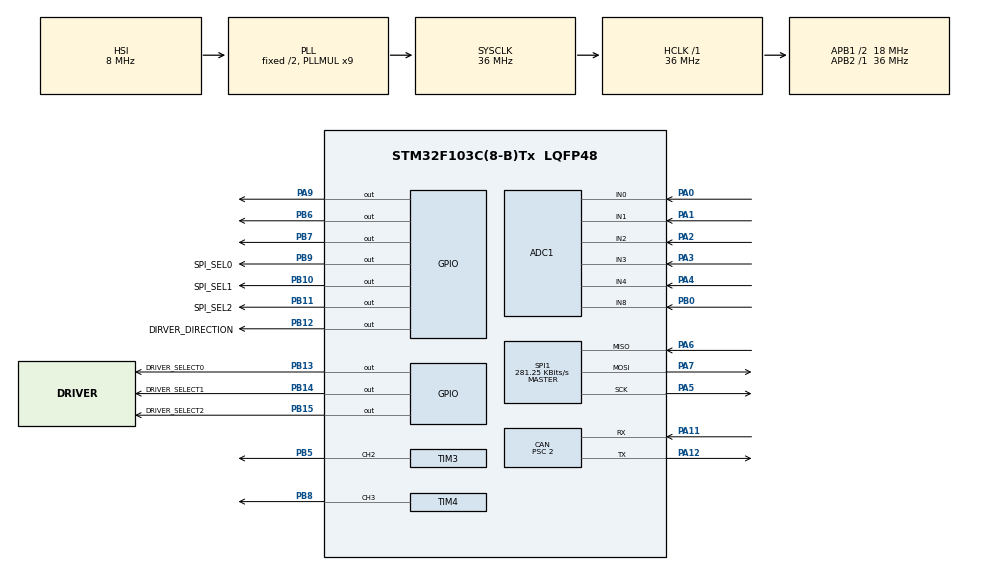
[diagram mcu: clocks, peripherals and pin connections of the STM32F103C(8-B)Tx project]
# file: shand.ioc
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ADC1.Channel-0\#ChannelRegularConversion=ADC_CHANNEL_0
ADC1.Channel-1\#ChannelRegularConversion=ADC_CHANNEL_1
ADC1.Channel-2\#ChannelRegularConversion=ADC_CHANNEL_2
ADC1.Channel-3\#ChannelRegularConversion=ADC_CHANNEL_3
ADC1.Channel-4\#ChannelRegularConversion=ADC_CHANNEL_4
ADC1.Channel-5\#ChannelRegularConversion=ADC_CHANNEL_8
ADC1.ContinuousConvMode=ENABLE
ADC1.NbrOfConversion=6
ADC1.NbrOfConversionFlag=1
ADC1.Rank-0\#ChannelRegularConversion=1
ADC1.Rank-1\#ChannelRegularConversion=2
ADC1.Rank-2\#ChannelRegularConversion=3
ADC1.Rank-3\#ChannelRegularConversion=4
ADC1.Rank-4\#ChannelRegularConversion=5
ADC1.Rank-5\#ChannelRegularConversion=6
ADC1.SamplingTime-0\#ChannelRegularConversion=ADC_SAMPLETIME_239CYCLES_5
ADC1.SamplingTime-1\#ChannelRegularConversion=ADC_SAMPLETIME_239CYCLES_5
ADC1.SamplingTime-2\#ChannelRegularConversion=ADC_SAMPLETIME_239CYCLES_5
ADC1.SamplingTime-3\#ChannelRegularConversion=ADC_SAMPLETIME_239CYCLES_5
ADC1.SamplingTime-4\#ChannelRegularConversion=ADC_SAMPLETIME_239CYCLES_5
ADC1.SamplingTime-5\#ChannelRegularConversion=ADC_SAMPLETIME_239CYCLES_5
ADC1.master=1
CAN.BS1=CAN_BS1_5TQ
CAN.BS2=CAN_BS2_3TQ
CAN.CalculateBaudRate=1000000
CAN.CalculateTimeBit=1000
CAN.CalculateTimeQuantum=111.11111111111111
CAN.Prescaler=2
Dma.ADC1.0.Direction=DMA_PERIPH_TO_MEMORY
Dma.ADC1.0.Instance=DMA1_Channel1
Dma.ADC1.0.MemDataAlignment=DMA_MDATAALIGN_HALFWORD
Dma.ADC1.0.MemInc=DMA_MINC_ENABLE
Dma.ADC1.0.Mode=DMA_CIRCULAR
Dma.ADC1.0.PeriphDataAlignment=DMA_PDATAALIGN_HALFWORD
Dma.ADC1.0.PeriphInc=DMA_PINC_DISABLE
Dma.ADC1.0.Priority=DMA_PRIORITY_LOW
Dma.Request0=ADC1
Mcu.Family=STM32F1
Mcu.Name=STM32F103C(8-B)Tx
Mcu.Package=LQFP48
NVIC.ADC1_2_IRQn=true\:0\:0\:false\:false\:true\:true\:true\:true
NVIC.DMA1_Channel1_IRQn=true\:0\:0\:false\:false\:true\:false\:true\:true
NVIC.PriorityGroup=NVIC_PRIORITYGROUP_4
NVIC.TIM1_UP_IRQn=true\:0\:0\:false\:false\:true\:true\:true\:true
NVIC.TIM2_IRQn=true\:0\:0\:false\:false\:true\:true\:true\:true
NVIC.USB_LP_CAN1_RX0_IRQn=true\:0\:0\:false\:false\:true\:true\:true\:true
PA0-WKUP.Signal=ADCx_IN0
PA1.Signal=ADCx_IN1
PA11.Mode=CAN_Activate
PA11.Signal=CAN_RX
PA12.Mode=CAN_Activate
PA12.Signal=CAN_TX
PA13.Mode=Trace_Asynchronous_SW
PA13.Signal=SYS_JTMS-SWDIO
PA14.Mode=Trace_Asynchronous_SW
PA14.Signal=SYS_JTCK-SWCLK
PA2.Signal=ADCx_IN2
PA3.Signal=ADCx_IN3
PA4.Signal=ADCx_IN4
PA5.Mode=Full_Duplex_Master
PA5.Signal=SPI1_SCK
PA6.Mode=Full_Duplex_Master
PA6.Signal=SPI1_MISO
PA7.Mode=Full_Duplex_Master
PA7.Signal=SPI1_MOSI
PA9.Signal=GPIO_Output
PB0.Signal=ADCx_IN8
PB10.GPIO_Label=SPI_SEL1
PB10.GPIO_Speed=GPIO_SPEED_FREQ_HIGH
PB10.Signal=GPIO_Output
PB11.GPIO_Label=SPI_SEL2
PB11.GPIO_Speed=GPIO_SPEED_FREQ_HIGH
PB11.Signal=GPIO_Output
PB12.GPIO_Label=DIRVER_DIRECTION
PB12.GPIO_Speed=GPIO_SPEED_FREQ_MEDIUM
PB12.Signal=GPIO_Output
PB13.GPIO_Label=DRIVER_SELECT0
PB13.GPIO_Speed=GPIO_SPEED_FREQ_MEDIUM
PB13.Signal=GPIO_Output
PB14.GPIO_Label=DRIVER_SELECT1
PB14.GPIO_Speed=GPIO_SPEED_FREQ_MEDIUM
PB14.Signal=GPIO_Output
PB15.GPIO_Label=DRIVER_SELECT2
PB15.GPIO_Speed=GPIO_SPEED_FREQ_MEDIUM
PB15.Signal=GPIO_Output
PB3.Mode=Trace_Asynchronous_SW
PB3.Signal=SYS_JTDO-TRACESWO
PB5.Signal=S_TIM3_CH2
PB6.GPIO_Speed=GPIO_SPEED_FREQ_HIGH
PB6.Signal=GPIO_Output
PB7.GPIO_Speed=GPIO_SPEED_FREQ_HIGH
PB7.Signal=GPIO_Output
PB8.Signal=S_TIM4_CH3
PB9.GPIO_Label=SPI_SEL0
PB9.GPIO_Speed=GPIO_SPEED_FREQ_HIGH
PB9.Signal=GPIO_Output
PD0-OSC_IN.Mode=HSE-External-Oscillator
PD0-OSC_IN.Signal=RCC_OSC_IN
PD1-OSC_OUT.Mode=HSE-External-Oscillator
PD1-OSC_OUT.Signal=RCC_OSC_OUT
ProjectManager.HeapSize=0x200
ProjectManager.StackSize=0x400
ProjectManager.TargetToolchain=STM32CubeIDE
RCC.ADCPresc=RCC_ADCPCLK2_DIV6
RCC.AHBFreq_Value=36000000
RCC.APB1CLKDivider=RCC_HCLK_DIV2
RCC.APB1Freq_Value=18000000
RCC.APB1TimFreq_Value=36000000
RCC.APB2Freq_Value=36000000
RCC.APB2TimFreq_Value=36000000
RCC.HCLKFreq_Value=36000000
RCC.PLLMUL=RCC_PLL_MUL9
RCC.SYSCLKFreq_VALUE=36000000
RCC.SYSCLKSource=RCC_SYSCLKSOURCE_PLLCLK
RCC.USBFreq_Value=36000000
SH.ADCx_IN0.0=ADC1_IN0,IN0
SH.ADCx_IN1.0=ADC1_IN1,IN1
SH.ADCx_IN2.0=ADC1_IN2,IN2
SH.ADCx_IN3.0=ADC1_IN3,IN3
SH.ADCx_IN4.0=ADC1_IN4,IN4
SH.ADCx_IN8.0=ADC1_IN8,IN8
SH.S_TIM3_CH2.0=TIM3_CH2,PWM Generation2 CH2
SH.S_TIM4_CH3.0=TIM4_CH3,PWM Generation3 CH3
SPI1.BaudRatePrescaler=SPI_BAUDRATEPRESCALER_128
SPI1.CalculateBaudRate=281.25 KBits/s
SPI1.Direction=SPI_DIRECTION_2LINES
SPI1.Mode=SPI_MODE_MASTER
SPI1.VirtualType=VM_MASTER
TIM1.AutoReloadPreload=TIM_AUTORELOAD_PRELOAD_DISABLE
TIM1.Period=1000
TIM1.Prescaler=36
TIM2.Period=1000
TIM2.Prescaler=36
TIM3.Channel-PWM\ Generation2\ CH2=TIM_CHANNEL_2
TIM3.OCFastMode_PWM-PWM\ Generation2\ CH2=TIM_OCFAST_ENABLE
TIM3.Period=2000
TIM3.Prescaler=360
TIM3.Pulse-PWM\ Generation2\ CH2=100
TIM4.Channel-PWM\ Generation3\ CH3=TIM_CHANNEL_3
TIM4.Period=2000
TIM4.Prescaler=36
VP_TIM1_VS_ClockSourceINT.Mode=Internal
VP_TIM2_VS_ClockSourceINT.Mode=Internal
VP_TIM3_VS_ClockSourceINT.Mode=Internal
VP_TIM4_VS_ClockSourceINT.Mode=Internal
board=custom

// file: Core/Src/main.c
/* USER CODE BEGIN Header */
/**
  ******************************************************************************
  * @file           : main.c
  * @brief          : Main program body
  ******************************************************************************
  * @attention
  *
  * Copyright (c) 2025 STMicroelectronics.
  * All rights reserved.
  *
  * This software is licensed under terms that can be found in the LICENSE file
  * in the root directory of this software component.
  * If no LICENSE file comes with this software, it is provided AS-IS.
  *
  ******************************************************************************
  */
/* USER CODE END Header */
#include "main.h"

/* USER CODE BEGIN Includes */
#include "logic.h"
#include "delay.h"
#include <stdbool.h>
#include "bmp280.h"
/* USER CODE END Includes */

/* USER CODE BEGIN PD */
#define FILTER_MEM_COUNT (5)
#if (FILTER_MEM_COUNT % 2) == 0
#error "FILTER_MEM_COUNT must be odd for median filter"
#endif
/* USER CODE END PD */

ADC_HandleTypeDef hadc1;
DMA_HandleTypeDef hdma_adc1;

CAN_HandleTypeDef hcan;

SPI_HandleTypeDef hspi1;

TIM_HandleTypeDef htim1;
TIM_HandleTypeDef htim2;
TIM_HandleTypeDef htim3;
TIM_HandleTypeDef htim4;

/* USER CODE BEGIN PV */
uint16_t ADCResult[5];
int count=0;
int i=0;
int pwm1=1000,pwm2=1000;
/* USER CODE END PV */

void SystemClock_Config(void);
static void MX_GPIO_Init(void);
static void MX_DMA_Init(void);
static void MX_ADC1_Init(void);
static void MX_CAN_Init(void);
static void MX_TIM4_Init(void);
static void MX_SPI1_Init(void);
static void MX_TIM3_Init(void);
static void MX_TIM1_Init(void);
static void MX_TIM2_Init(void);
/* USER CODE BEGIN PFP */
void hw_read_adc(uint16_t*value);
int  hw_can_send(uint32_t id,uint8_t *data);
void hw_set_direction(bool dir);
void hw_set_servo_position(uint8_t  *position);
//value is between 0 to 5
void hw_select_driver_motor(uint8_t value);
//minus means clockwise
void hw_set_motor_speed(uint8_t motor,int32_t speed );

void SelectSensor(int8_t index);
void SpiWrite(uint8_t index,uint8_t *data,int len);
void hw_toggle_test_pin();
void SPIReadWrite(uint8_t index,uint8_t *txBuffer,uint8_t txLen,uint8_t *rxBuffer,uint8_t rxLen);
void hw_set_servo_position(uint8_t  *position);
BMP280_CALLBACK_STRUCT_TYPE bmp_sensor=
{
	SPIReadWrite,
	SpiWrite

};

/* USER CODE END PFP */

/* USER CODE BEGIN 0 */
void SysTick_Initialize(uint32_t ticks)
{
    SysTick->CTRL = 0;  // Stop SysTick
    SysTick->LOAD = ticks - 1;
    SysTick->VAL  = 0;

    NVIC_SetPriority(SysTick_IRQn, 15);

    SysTick->CTRL = SysTick_CTRL_CLKSOURCE_Msk |
                    SysTick_CTRL_TICKINT_Msk   |
                    SysTick_CTRL_ENABLE_Msk;
}

void systick_interrupt_handler()
{
	//every 1.67ms
	run_pid_for_all_fingers();
}

void HAL_TIM_PeriodElapsedCallback(TIM_HandleTypeDef *htim1)
{
	static int step1 = 0;
	static int step2 = 0;
	if(htim1->Instance == TIM1)
	{

		if(step1 == 0)
		{

			GPIOB->ODR |=1<<7;
			TIM1->ARR = pwm1;
			step1 = 1;
		}
		else if(step1 == 1)
		{

			GPIOB->ODR &=~(1<<7);
			TIM1->ARR = 19500-pwm1;
			step1 = 0;
		}

	}
	if(htim1->Instance == TIM2)
	{
		if(step2 == 0)
		{

			GPIOB->ODR |=(1<<6);
			TIM2->ARR = pwm2;
			step2 = 1;
		}
		else if(step2 == 1)
		{

			GPIOB->ODR&=~(1<<6);
			TIM2->ARR = 19500-pwm2;
			step2 = 0;
		}

	}

}
void HAL_ADC_ConvHalfCpltCallback(ADC_HandleTypeDef* hadc)
{
	__NOP();
}
void HAL_ADC_ConvCpltCallback(ADC_HandleTypeDef* hadc)
{
	count++;
//	__NOP();
	//  printf("adc=%d %d %d %d %d %d\n",ADCResult[0],ADCResult[1],ADCResult[2],ADCResult[3],ADCResult[4],ADCResult[5]);

}
void HAL_CAN_RxFifo0MsgPendingCallback(CAN_HandleTypeDef *hcan)
{
	uint8_t               RxData[8];
	CAN_RxHeaderTypeDef   RxHeader;
	HAL_CAN_GetRxMessage(hcan, CAN_RX_FIFO0, &RxHeader, RxData);
	can_data_received(RxHeader.StdId,RxData);

}
/* USER CODE END 0 */

int main(void)
{

  /* MCU Configuration--------------------------------------------------------*/

  /* Reset of all peripherals, Initializes the Flash interface and the Systick. */
  HAL_Init();

  /* Configure the system clock */
  SystemClock_Config();

  /* Initialize all configured peripherals */
  MX_GPIO_Init();
  MX_DMA_Init();
  MX_ADC1_Init();
  MX_CAN_Init();
  MX_TIM4_Init();
  MX_SPI1_Init();
  MX_TIM3_Init();
  MX_TIM1_Init();
  MX_TIM2_Init();
  /* USER CODE BEGIN 2 */
	  printf("start app\n");
     hw_select_driver_motor(7);

  if (HAL_CAN_Start(&hcan) != HAL_OK)
     {
       /* Start Error */
 	  printf("can start error\n");
     }
   else{
 	  printf("can start ok!!!!!\n");
   }

#ifdef RIGHT_HAND
	  printf("right hand\n");
#else
	  printf("left hand\n");
#endif

  HAL_CAN_ActivateNotification(&hcan, CAN_IT_RX_FIFO0_MSG_PENDING);
  HAL_ADC_Start_DMA(&hadc1, (uint32_t*)ADCResult, 6);
  HAL_TIM_PWM_Start(&htim4, TIM_CHANNEL_3);
  HAL_TIM_PWM_Start(&htim4, TIM_CHANNEL_2);
  HAL_TIM_PWM_Start(&htim4, TIM_CHANNEL_1);
  HAL_TIM_PWM_Start(&htim3, TIM_CHANNEL_2);
  /* USER CODE END 2 */

  /* Infinite loop */
  /* USER CODE BEGIN WHILE */
  register_delay(HAL_Delay);
  bmp280_register_callbacks(&bmp_sensor);

  logic_register_adc(hw_read_adc);
  logic_register_can_send(hw_can_send);
  logic_register_set_motor_speed(hw_set_motor_speed);
  logic_register_set_servo_position(hw_set_servo_position);
  logic_register_read_pressure(bmp280_read_pressure);
  logic_register_read_temperature(bmp280_read_temperature);
  logic_register_sensor_init(bmp280_init);
  logic_register_hw_pin(hw_toggle_test_pin);
  logic_init();
  hw_set_motor_speed(7,0);

  HAL_NVIC_SetPriority(TIM1_UP_IRQn, 0, 0);
  HAL_NVIC_EnableIRQ(TIM1_UP_IRQn);
  HAL_NVIC_EnableIRQ(TIM2_IRQn);
  HAL_TIM_Base_Start_IT(&htim1);
  HAL_TIM_Base_Start_IT(&htim2);
  SysTick_Initialize(60000);
  while (1)
  {

	  logic_loop();
//	  hw_toggle_test_pin();
    /* USER CODE END WHILE */

  }
}

void SystemClock_Config(void)
{
  RCC_OscInitTypeDef RCC_OscInitStruct = {0};
  RCC_ClkInitTypeDef RCC_ClkInitStruct = {0};
  RCC_PeriphCLKInitTypeDef PeriphClkInit = {0};

  /** Initializes the RCC Oscillators according to the specified parameters
  * in the RCC_OscInitTypeDef structure.
  */
  RCC_OscInitStruct.OscillatorType = RCC_OSCILLATORTYPE_HSI;
  RCC_OscInitStruct.HSIState = RCC_HSI_ON;
  RCC_OscInitStruct.HSICalibrationValue = RCC_HSICALIBRATION_DEFAULT;
  RCC_OscInitStruct.PLL.PLLState = RCC_PLL_ON;
  RCC_OscInitStruct.PLL.PLLSource = RCC_PLLSOURCE_HSI_DIV2;
  RCC_OscInitStruct.PLL.PLLMUL = RCC_PLL_MUL9;
  if (HAL_RCC_OscConfig(&RCC_OscInitStruct) != HAL_OK)
  {
    Error_Handler();
  }

  /** Initializes the CPU, AHB and APB buses clocks
  */
  RCC_ClkInitStruct.ClockType = RCC_CLOCKTYPE_HCLK|RCC_CLOCKTYPE_SYSCLK
                              |RCC_CLOCKTYPE_PCLK1|RCC_CLOCKTYPE_PCLK2;
  RCC_ClkInitStruct.SYSCLKSource = RCC_SYSCLKSOURCE_PLLCLK;
  RCC_ClkInitStruct.AHBCLKDivider = RCC_SYSCLK_DIV1;
  RCC_ClkInitStruct.APB1CLKDivider = RCC_HCLK_DIV2;
  RCC_ClkInitStruct.APB2CLKDivider = RCC_HCLK_DIV1;

  if (HAL_RCC_ClockConfig(&RCC_ClkInitStruct, FLASH_LATENCY_1) != HAL_OK)
  {
    Error_Handler();
  }
  PeriphClkInit.PeriphClockSelection = RCC_PERIPHCLK_ADC;
  PeriphClkInit.AdcClockSelection = RCC_ADCPCLK2_DIV6;
  if (HAL_RCCEx_PeriphCLKConfig(&PeriphClkInit) != HAL_OK)
  {
    Error_Handler();
  }
}

static void MX_ADC1_Init(void)
{

  ADC_ChannelConfTypeDef sConfig = {0};

  /** Common config
  */
  hadc1.Instance = ADC1;
  hadc1.Init.ScanConvMode = ADC_SCAN_ENABLE;
  hadc1.Init.ContinuousConvMode = ENABLE;
  hadc1.Init.DiscontinuousConvMode = DISABLE;
  hadc1.Init.ExternalTrigConv = ADC_SOFTWARE_START;
  hadc1.Init.DataAlign = ADC_DATAALIGN_RIGHT;
  hadc1.Init.NbrOfConversion = 6;
  if (HAL_ADC_Init(&hadc1) != HAL_OK)
  {
    Error_Handler();
  }

  /** Configure Regular Channel
  */
  sConfig.Channel = ADC_CHANNEL_0;
  sConfig.Rank = ADC_REGULAR_RANK_1;
  sConfig.SamplingTime = ADC_SAMPLETIME_239CYCLES_5;
  if (HAL_ADC_ConfigChannel(&hadc1, &sConfig) != HAL_OK)
  {
    Error_Handler();
  }

  /** Configure Regular Channel
  */
  sConfig.Channel = ADC_CHANNEL_1;
  sConfig.Rank = ADC_REGULAR_RANK_2;
  if (HAL_ADC_ConfigChannel(&hadc1, &sConfig) != HAL_OK)
  {
    Error_Handler();
  }

  /** Configure Regular Channel
  */
  sConfig.Channel = ADC_CHANNEL_2;
  sConfig.Rank = ADC_REGULAR_RANK_3;
  if (HAL_ADC_ConfigChannel(&hadc1, &sConfig) != HAL_OK)
  {
    Error_Handler();
  }

  /** Configure Regular Channel
  */
  sConfig.Channel = ADC_CHANNEL_3;
  sConfig.Rank = ADC_REGULAR_RANK_4;
  if (HAL_ADC_ConfigChannel(&hadc1, &sConfig) != HAL_OK)
  {
    Error_Handler();
  }

  /** Configure Regular Channel
  */
  sConfig.Channel = ADC_CHANNEL_4;
  sConfig.Rank = ADC_REGULAR_RANK_5;
  if (HAL_ADC_ConfigChannel(&hadc1, &sConfig) != HAL_OK)
  {
    Error_Handler();
  }

  /** Configure Regular Channel
  */
  sConfig.Channel = ADC_CHANNEL_8;
  sConfig.Rank = ADC_REGULAR_RANK_6;
  if (HAL_ADC_ConfigChannel(&hadc1, &sConfig) != HAL_OK)
  {
    Error_Handler();
  }

}

static void MX_CAN_Init(void)
{

  hcan.Instance = CAN1;
  hcan.Init.Prescaler = 2;
  hcan.Init.Mode = CAN_MODE_NORMAL;
  hcan.Init.SyncJumpWidth = CAN_SJW_1TQ;
  hcan.Init.TimeSeg1 = CAN_BS1_5TQ;
  hcan.Init.TimeSeg2 = CAN_BS2_3TQ;
  hcan.Init.TimeTriggeredMode = DISABLE;
  hcan.Init.AutoBusOff = DISABLE;
  hcan.Init.AutoWakeUp = DISABLE;
  hcan.Init.AutoRetransmission = DISABLE;
  hcan.Init.ReceiveFifoLocked = DISABLE;
  hcan.Init.TransmitFifoPriority = DISABLE;
  if (HAL_CAN_Init(&hcan) != HAL_OK)
  {
    Error_Handler();
  }
  /* USER CODE BEGIN CAN_Init 2 */
  CAN_FilterTypeDef canfil; //declare CAN filter structure
  canfil.FilterBank = 0;
  canfil.FilterMode = CAN_FILTERMODE_IDMASK;
  canfil.FilterFIFOAssignment = CAN_RX_FIFO0;
  canfil.FilterIdHigh = 0;
  canfil.FilterIdLow = 0;
  canfil.FilterMaskIdHigh = 0;
  canfil.FilterMaskIdLow = 0;
  canfil.FilterScale = CAN_FILTERSCALE_32BIT;
  canfil.FilterActivation = ENABLE;
  canfil.SlaveStartFilterBank = 14;

  	HAL_CAN_ConfigFilter(&hcan, &canfil); //configure CAN filter
  /* USER CODE END CAN_Init 2 */

}

static void MX_SPI1_Init(void)
{

  /* SPI1 parameter configuration*/
  hspi1.Instance = SPI1;
  hspi1.Init.Mode = SPI_MODE_MASTER;
  hspi1.Init.Direction = SPI_DIRECTION_2LINES;
  hspi1.Init.DataSize = SPI_DATASIZE_8BIT;
  hspi1.Init.CLKPolarity = SPI_POLARITY_LOW;
  hspi1.Init.CLKPhase = SPI_PHASE_1EDGE;
  hspi1.Init.NSS = SPI_NSS_SOFT;
  hspi1.Init.BaudRatePrescaler = SPI_BAUDRATEPRESCALER_128;
  hspi1.Init.FirstBit = SPI_FIRSTBIT_MSB;
  hspi1.Init.TIMode = SPI_TIMODE_DISABLE;
  hspi1.Init.CRCCalculation = SPI_CRCCALCULATION_DISABLE;
  hspi1.Init.CRCPolynomial = 10;
  if (HAL_SPI_Init(&hspi1) != HAL_OK)
  {
    Error_Handler();
  }

}

static void MX_TIM1_Init(void)
{

  TIM_ClockConfigTypeDef sClockSourceConfig = {0};
  TIM_MasterConfigTypeDef sMasterConfig = {0};

  htim1.Instance = TIM1;
  htim1.Init.Prescaler = 36;
  htim1.Init.CounterMode = TIM_COUNTERMODE_UP;
  htim1.Init.Period = 1000;
  htim1.Init.ClockDivision = TIM_CLOCKDIVISION_DIV1;
  htim1.Init.RepetitionCounter = 0;
  htim1.Init.AutoReloadPreload = TIM_AUTORELOAD_PRELOAD_DISABLE;
  if (HAL_TIM_Base_Init(&htim1) != HAL_OK)
  {
    Error_Handler();
  }
  sClockSourceConfig.ClockSource = TIM_CLOCKSOURCE_INTERNAL;
  if (HAL_TIM_ConfigClockSource(&htim1, &sClockSourceConfig) != HAL_OK)
  {
    Error_Handler();
  }
  sMasterConfig.MasterOutputTrigger = TIM_TRGO_RESET;
  sMasterConfig.MasterSlaveMode = TIM_MASTERSLAVEMODE_DISABLE;
  if (HAL_TIMEx_MasterConfigSynchronization(&htim1, &sMasterConfig) != HAL_OK)
  {
    Error_Handler();
  }

}

static void MX_TIM2_Init(void)
{

  TIM_ClockConfigTypeDef sClockSourceConfig = {0};
  TIM_MasterConfigTypeDef sMasterConfig = {0};

  htim2.Instance = TIM2;
  htim2.Init.Prescaler = 36;
  htim2.Init.CounterMode = TIM_COUNTERMODE_UP;
  htim2.Init.Period = 1000;
  htim2.Init.ClockDivision = TIM_CLOCKDIVISION_DIV1;
  htim2.Init.AutoReloadPreload = TIM_AUTORELOAD_PRELOAD_DISABLE;
  if (HAL_TIM_Base_Init(&htim2) != HAL_OK)
  {
    Error_Handler();
  }
  sClockSourceConfig.ClockSource = TIM_CLOCKSOURCE_INTERNAL;
  if (HAL_TIM_ConfigClockSource(&htim2, &sClockSourceConfig) != HAL_OK)
  {
    Error_Handler();
  }
  sMasterConfig.MasterOutputTrigger = TIM_TRGO_RESET;
  sMasterConfig.MasterSlaveMode = TIM_MASTERSLAVEMODE_DISABLE;
  if (HAL_TIMEx_MasterConfigSynchronization(&htim2, &sMasterConfig) != HAL_OK)
  {
    Error_Handler();
  }

}

static void MX_TIM3_Init(void)
{

  TIM_ClockConfigTypeDef sClockSourceConfig = {0};
  TIM_MasterConfigTypeDef sMasterConfig = {0};
  TIM_OC_InitTypeDef sConfigOC = {0};

  htim3.Instance = TIM3;
  htim3.Init.Prescaler = 360;
  htim3.Init.CounterMode = TIM_COUNTERMODE_UP;
  htim3.Init.Period = 2000;
  htim3.Init.ClockDivision = TIM_CLOCKDIVISION_DIV1;
  htim3.Init.AutoReloadPreload = TIM_AUTORELOAD_PRELOAD_DISABLE;
  if (HAL_TIM_Base_Init(&htim3) != HAL_OK)
  {
    Error_Handler();
  }
  sClockSourceConfig.ClockSource = TIM_CLOCKSOURCE_INTERNAL;
  if (HAL_TIM_ConfigClockSource(&htim3, &sClockSourceConfig) != HAL_OK)
  {
    Error_Handler();
  }
  if (HAL_TIM_PWM_Init(&htim3) != HAL_OK)
  {
    Error_Handler();
  }
  sMasterConfig.MasterOutputTrigger = TIM_TRGO_RESET;
  sMasterConfig.MasterSlaveMode = TIM_MASTERSLAVEMODE_DISABLE;
  if (HAL_TIMEx_MasterConfigSynchronization(&htim3, &sMasterConfig) != HAL_OK)
  {
    Error_Handler();
  }
  sConfigOC.OCMode = TIM_OCMODE_PWM1;
  sConfigOC.Pulse = 100;
  sConfigOC.OCPolarity = TIM_OCPOLARITY_HIGH;
  sConfigOC.OCFastMode = TIM_OCFAST_ENABLE;
  if (HAL_TIM_PWM_ConfigChannel(&htim3, &sConfigOC, TIM_CHANNEL_2) != HAL_OK)
  {
    Error_Handler();
  }
  HAL_TIM_MspPostInit(&htim3);

}

static void MX_TIM4_Init(void)
{

  TIM_ClockConfigTypeDef sClockSourceConfig = {0};
  TIM_MasterConfigTypeDef sMasterConfig = {0};
  TIM_OC_InitTypeDef sConfigOC = {0};

  htim4.Instance = TIM4;
  htim4.Init.Prescaler = 36;
  htim4.Init.CounterMode = TIM_COUNTERMODE_UP;
  htim4.Init.Period = 2000;
  htim4.Init.ClockDivision = TIM_CLOCKDIVISION_DIV1;
  htim4.Init.AutoReloadPreload = TIM_AUTORELOAD_PRELOAD_DISABLE;
  if (HAL_TIM_Base_Init(&htim4) != HAL_OK)
  {
    Error_Handler();
  }
  sClockSourceConfig.ClockSource = TIM_CLOCKSOURCE_INTERNAL;
  if (HAL_TIM_ConfigClockSource(&htim4, &sClockSourceConfig) != HAL_OK)
  {
    Error_Handler();
  }
  if (HAL_TIM_PWM_Init(&htim4) != HAL_OK)
  {
    Error_Handler();
  }
  sMasterConfig.MasterOutputTrigger = TIM_TRGO_RESET;
  sMasterConfig.MasterSlaveMode = TIM_MASTERSLAVEMODE_DISABLE;
  if (HAL_TIMEx_MasterConfigSynchronization(&htim4, &sMasterConfig) != HAL_OK)
  {
    Error_Handler();
  }
  sConfigOC.OCMode = TIM_OCMODE_PWM1;
  sConfigOC.Pulse = 0;
  sConfigOC.OCPolarity = TIM_OCPOLARITY_HIGH;
  sConfigOC.OCFastMode = TIM_OCFAST_DISABLE;
  if (HAL_TIM_PWM_ConfigChannel(&htim4, &sConfigOC, TIM_CHANNEL_3) != HAL_OK)
  {
    Error_Handler();
  }
  HAL_TIM_MspPostInit(&htim4);

}

static void MX_DMA_Init(void)
{

  /* DMA controller clock enable */
  __HAL_RCC_DMA1_CLK_ENABLE();

  /* DMA interrupt init */
  /* DMA1_Channel1_IRQn interrupt configuration */
  HAL_NVIC_SetPriority(DMA1_Channel1_IRQn, 0, 0);
  HAL_NVIC_EnableIRQ(DMA1_Channel1_IRQn);

}

static void MX_GPIO_Init(void)
{
  GPIO_InitTypeDef GPIO_InitStruct = {0};

  /* GPIO Ports Clock Enable */
  __HAL_RCC_GPIOD_CLK_ENABLE();
  __HAL_RCC_GPIOA_CLK_ENABLE();
  __HAL_RCC_GPIOB_CLK_ENABLE();

  /*Configure GPIO pin Output Level */
  HAL_GPIO_WritePin(GPIOB, SPI_SEL1_Pin|SPI_SEL2_Pin|DIRVER_DIRECTION_Pin|DRIVER_SELECT0_Pin
                          |DRIVER_SELECT1_Pin|DRIVER_SELECT2_Pin|GPIO_PIN_6|GPIO_PIN_7
                          |SPI_SEL0_Pin, GPIO_PIN_RESET);

  /*Configure GPIO pin Output Level */
  HAL_GPIO_WritePin(GPIOA, GPIO_PIN_9, GPIO_PIN_RESET);

  /*Configure GPIO pins : SPI_SEL1_Pin SPI_SEL2_Pin PB6 PB7
                           SPI_SEL0_Pin */
  GPIO_InitStruct.Pin = SPI_SEL1_Pin|SPI_SEL2_Pin|GPIO_PIN_6|GPIO_PIN_7
                          |SPI_SEL0_Pin;
  GPIO_InitStruct.Mode = GPIO_MODE_OUTPUT_PP;
  GPIO_InitStruct.Pull = GPIO_NOPULL;
  GPIO_InitStruct.Speed = GPIO_SPEED_FREQ_HIGH;
  HAL_GPIO_Init(GPIOB, &GPIO_InitStruct);

  /*Configure GPIO pins : DIRVER_DIRECTION_Pin DRIVER_SELECT0_Pin DRIVER_SELECT1_Pin DRIVER_SELECT2_Pin */
  GPIO_InitStruct.Pin = DIRVER_DIRECTION_Pin|DRIVER_SELECT0_Pin|DRIVER_SELECT1_Pin|DRIVER_SELECT2_Pin;
  GPIO_InitStruct.Mode = GPIO_MODE_OUTPUT_PP;
  GPIO_InitStruct.Pull = GPIO_NOPULL;
  GPIO_InitStruct.Speed = GPIO_SPEED_FREQ_MEDIUM;
  HAL_GPIO_Init(GPIOB, &GPIO_InitStruct);

  /*Configure GPIO pin : PA9 */
  GPIO_InitStruct.Pin = GPIO_PIN_9;
  GPIO_InitStruct.Mode = GPIO_MODE_OUTPUT_PP;
  GPIO_InitStruct.Pull = GPIO_NOPULL;
  GPIO_InitStruct.Speed = GPIO_SPEED_FREQ_LOW;
  HAL_GPIO_Init(GPIOA, &GPIO_InitStruct);

}

/* USER CODE BEGIN 4 */

int _write(int file, char *ptr, int len)
{
	/* Implement your write code here, this is used by puts and printf for example */
	int i=0;
	for(i=0 ; i<len ; i++)
		ITM_SendChar((*ptr++));
	return len;
}

static void sort_uint16(uint16_t *arr, uint8_t size)
{
    for (uint8_t i = 1; i < size; i++)
    {
        uint16_t key = arr[i];
        int8_t j = i - 1;

        while (j >= 0 && arr[j] > key)
        {
            arr[j + 1] = arr[j];
            j--;
        }
        arr[j + 1] = key;
    }
}

void filter_adc_values(uint16_t *filtered_value,
                       uint16_t adc_raw_value[6][FILTER_MEM_COUNT])
{
    uint16_t temp[FILTER_MEM_COUNT];

    for (int ch = 0; ch < 6; ch++)
    {

        for (int i = 0; i < FILTER_MEM_COUNT; i++)
        {
            temp[i] = adc_raw_value[ch][i];
        }

        sort_uint16(temp, FILTER_MEM_COUNT);

        filtered_value[ch] = temp[FILTER_MEM_COUNT / 2];
    }
}

void hw_read_adc(uint16_t *value)
{
//    static uint16_t filter_memory[6][FILTER_MEM_COUNT];
//    static uint16_t adc_filtered[6] = {2000,2000,2000,2000,2000,2000};
//    static int index = 0;
//
//    for (int channel = 0; channel < 6; channel++)
//    {
//        filter_memory[channel][index] = ADCResult[channel];
//    }
//
//    index++;
//
//    if (index == FILTER_MEM_COUNT)
//    {
//        index = 0;
//        filter_adc_values(adc_filtered, filter_memory);
//    }

    memcpy(value, ADCResult, 6 * sizeof(uint16_t));
}

int hw_can_send(uint32_t id,uint8_t *data)
{
	CAN_TxHeaderTypeDef   TxHeader;
	uint32_t              TxMailbox;
	  /*##-4- Start the Transmission process #####################################*/
	  TxHeader.StdId =id;
	  TxHeader.RTR = CAN_RTR_DATA;
	  TxHeader.IDE = CAN_ID_STD;
	  TxHeader.DLC = 8;
	  TxHeader.TransmitGlobalTime = DISABLE;

	  /* Request transmission */
	  if(HAL_CAN_AddTxMessage(&hcan, &TxHeader, data, &TxMailbox) != HAL_OK)
	  {
	    /* Transmission request Error */
		  printf("Transmission request Error\n");
		 return -1;
	  }
	  return 0;
}

void hw_set_direction(bool dir)
{
	GPIOB->ODR &=~(1<<12);
	if(dir)GPIOB->ODR |=(1<<12);
}
//value is between 0 to 5
void hw_select_driver_motor(uint8_t value)
{
	value&=0x07;
	GPIOB->ODR &=~(0x07<<13);
	GPIOB->ODR |=(value<<13);
}

void hw_set_servo_position(uint8_t  *position)
{
//	TIM4->CCR1 = 50+((position[0]>190)?190:position[0]);
//	TIM4->CCR2 = 50+((position[1]>190)?190:position[1]);
	TIM3->CCR2 = 50+((position[2]>190)?190:position[2]);
	pwm1 = 488+((position[0]>190)?190:(position[0]<20)?20:position[0])*10;
	pwm2 = 488+((position[1]>190)?190:(position[1]<20)?20:position[1])*10;

}
//minus means clockwise
void hw_set_motor_speed(uint8_t motor,int32_t speed )
{

	if(speed<0) {
		hw_set_direction(0);
		speed*=-1;
	}
	else{
		hw_set_direction(1);

	}
	speed=1900-speed;
	if(speed>1900)speed=1900;
	if(speed<2)speed =2;

	hw_select_driver_motor(motor);

	 TIM4->CCR3=speed;

}
void SelectSensor(int8_t index)
{

        GPIOB->ODR &= ~ ((0x07)<<9);
        GPIOB->ODR |= ((0x07 & index)<<9);
}

void SpiWrite(uint8_t index,uint8_t *data,int len)
{
	int offset=-1;
	//if(index==1)offset=1;
	SelectSensor(index+offset);
//	GPIOB->ODR&=~(1<<9);
	HAL_SPI_Transmit(&hspi1, data, len, 1000); //CONFIG
//	GPIOB->ODR|=1<<9;
	SelectSensor(index);
}

void hw_toggle_test_pin()
{
 GPIOA->ODR ^= 1<<9;
}

void SPIReadWrite(uint8_t index,uint8_t *txBuffer,uint8_t txLen,uint8_t *rxBuffer,uint8_t rxLen)
{
	HAL_Delay(5);
	int offset=-1;
	//if(index==1)offset=1;
	SelectSensor(index+offset);
	HAL_Delay(1);
//	GPIOB->ODR&=~(1<<9);
	HAL_SPI_Transmit(&hspi1, txBuffer, txLen, 10);
	HAL_SPI_Receive(&hspi1, rxBuffer, rxLen, 200);
	SelectSensor(index);
//	GPIOB->ODR|=1<<9;
	HAL_Delay(1);

}
/* USER CODE END 4 */

void Error_Handler(void)
{
  __disable_irq();
  while (1)
  {
  }
}
